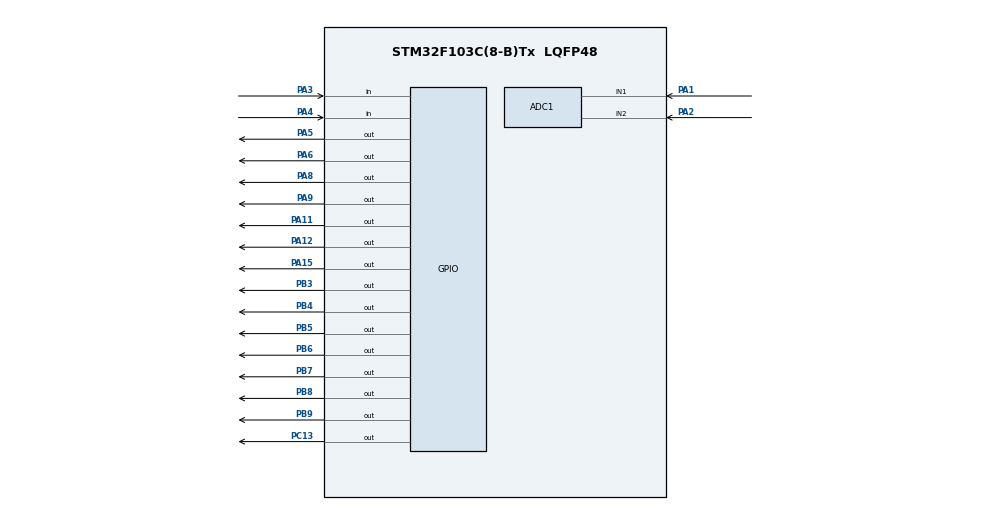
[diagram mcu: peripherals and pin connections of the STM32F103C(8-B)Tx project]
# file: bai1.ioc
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ADC1.Channel-0\#ChannelRegularConversion=ADC_CHANNEL_1
ADC1.Channel-1\#ChannelRegularConversion=ADC_CHANNEL_2
ADC1.NbrOfConversion=2
ADC1.NbrOfConversionFlag=1
ADC1.Rank-0\#ChannelRegularConversion=1
ADC1.Rank-1\#ChannelRegularConversion=2
ADC1.SamplingTime-0\#ChannelRegularConversion=ADC_SAMPLETIME_7CYCLES_5
ADC1.SamplingTime-1\#ChannelRegularConversion=ADC_SAMPLETIME_7CYCLES_5
ADC1.master=1
Dma.ADC1.0.Direction=DMA_PERIPH_TO_MEMORY
Dma.ADC1.0.Instance=DMA1_Channel1
Dma.ADC1.0.MemDataAlignment=DMA_MDATAALIGN_HALFWORD
Dma.ADC1.0.MemInc=DMA_MINC_ENABLE
Dma.ADC1.0.Mode=DMA_CIRCULAR
Dma.ADC1.0.PeriphDataAlignment=DMA_PDATAALIGN_HALFWORD
Dma.ADC1.0.PeriphInc=DMA_PINC_DISABLE
Dma.ADC1.0.Priority=DMA_PRIORITY_LOW
Dma.Request0=ADC1
Mcu.Family=STM32F1
Mcu.Name=STM32F103C(8-B)Tx
Mcu.Package=LQFP48
NVIC.DMA1_Channel1_IRQn=true\:0\:0\:false\:false\:true\:false\:true\:true
NVIC.PriorityGroup=NVIC_PRIORITYGROUP_4
PA1.Signal=ADCx_IN1
PA11.Signal=GPIO_Output
PA12.Signal=GPIO_Output
PA13.Mode=Serial_Wire
PA13.Signal=SYS_JTMS-SWDIO
PA14.Mode=Serial_Wire
PA14.Signal=SYS_JTCK-SWCLK
PA15.Signal=GPIO_Output
PA2.Signal=ADCx_IN2
PA3.GPIO_PuPd=GPIO_PULLUP
PA3.Signal=GPIO_Input
PA4.GPIO_Mode=GPIO_MODE_INPUT
PA4.GPIO_PuPd=GPIO_PULLUP
PA4.Signal=GPIO_Input
PA5.Signal=GPIO_Output
PA6.Signal=GPIO_Output
PA8.Signal=GPIO_Output
PA9.Signal=GPIO_Output
PB3.Signal=GPIO_Output
PB4.Signal=GPIO_Output
PB5.Signal=GPIO_Output
PB6.Signal=GPIO_Output
PB7.Signal=GPIO_Output
PB8.Signal=GPIO_Output
PB9.Signal=GPIO_Output
PC13-TAMPER-RTC.Signal=GPIO_Output
ProjectManager.HeapSize=0x200
ProjectManager.StackSize=0x400
ProjectManager.TargetToolchain=MDK-ARM V5
RCC.APB1Freq_Value=8000000
RCC.APB2Freq_Value=8000000
SH.ADCx_IN1.0=ADC1_IN1,IN1
SH.ADCx_IN2.0=ADC1_IN2,IN2
board=custom

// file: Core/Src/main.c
/* USER CODE BEGIN Header */
/**
  ******************************************************************************
  * @file           : main.c
  * @brief          : Main program body
  ******************************************************************************
  * @attention
  *
  * <h2><center>&copy; Copyright (c) 2023 STMicroelectronics.
  * All rights reserved.</center></h2>
  *
  * This software component is licensed by ST under BSD 3-Clause license,
  * the "License"; You may not use this file except in compliance with the
  * License. You may obtain a copy of the License at:
  *                        opensource.org/licenses/BSD-3-Clause
  *
  ******************************************************************************
  */
/* USER CODE END Header */
#include "main.h"
#include <stdio.h>
#include <string.h>

/* USER CODE BEGIN Includes */
#include "i2c-lcd.h"
#include "CLCD_I2C.h"
/* USER CODE END Includes */

ADC_HandleTypeDef hadc1;
DMA_HandleTypeDef hdma_adc1;

void SystemClock_Config(void);
static void MX_GPIO_Init(void);
static void MX_DMA_Init(void);
static void MX_ADC1_Init(void);

/* USER CODE BEGIN 0 */
uint16_t data[2];
uint16_t value1 ;
uint16_t value2;
int dem=0;
int dem1 = 0;
int Q1 = 0;
int Q2 = 0;
int Q3 = 0;
int Q4 = 0;
int Q5 = 0;
int Q6 = 0;
int k1 =0;
int k2 = 0;
int i ;
int l;
int thoigian=1000;

/* USER CODE END 0 */

int main(void)
{

  /* MCU Configuration--------------------------------------------------------*/

  /* Reset of all peripherals, Initializes the Flash interface and the Systick. */
  HAL_Init();

  /* Configure the system clock */
  SystemClock_Config();

  /* Initialize all configured peripherals */
  MX_GPIO_Init();
  MX_DMA_Init();
  MX_ADC1_Init();
  /* USER CODE BEGIN 2 */
		lcd_init();

	lcd_goto_XY(1,0);
	lcd_send_string("DO AN MON HOC4");
	lcd_goto_XY(2,0);
	lcd_send_string("DAN PHOI TU DONG");
	HAL_Delay(3000);
			for (int i=0;i<3;i++){
	HAL_GPIO_WritePin(GPIOA,GPIO_PIN_3,1);
	HAL_GPIO_WritePin(GPIOA,GPIO_PIN_4,1);
		HAL_Delay(1000);
		HAL_GPIO_WritePin(GPIOA,GPIO_PIN_3,0);
	HAL_GPIO_WritePin(GPIOA,GPIO_PIN_4,0);
		HAL_Delay(1000);

  /* USER CODE END 2 */

  /* Infinite loop */
  while (1)
  {

    /* USER CODE BEGIN 3 */
		HAL_GPIO_WritePin(GPIOC,GPIO_PIN_13,1); //bat led pc13 vi dieu khien
		HAL_Delay(500);
		HAL_GPIO_WritePin(GPIOC,GPIO_PIN_13,0);// tat led
		HAL_Delay(500);

		HAL_ADC_Start_DMA(&hadc1,(uint32_t*)data,2); //truyen ADC vao bien con tro data 32bit
		HAL_Delay(50);
		HAL_ADC_Stop_DMA(&hadc1); // luu gia tri vao thanh ghi dma

		value1 = data[0];         //tin hieu alalog mua
		value2 = data[1];         // tin hieu alalog anh sang

		HAL_GPIO_WritePin(GPIOC,GPIO_PIN_13,1); //bat led pc13 vi dieu khien
		HAL_Delay(500);
		HAL_GPIO_WritePin(GPIOC,GPIO_PIN_13,0);// tat led
		HAL_Delay(500);// tin hieu alalog anh sang

		if(HAL_GPIO_ReadPin(GPIOA,GPIO_PIN_3)==0){   // neu nhan PA3
			    for(int x=4000; x >0; x--);          // chong rung nut nhan
			    dem = dem + 1 ;}

	  if(dem % 2 == 0) {

		 Lcd_Ghi_Lenh(0x80);
		 sprintf(&M[0],"che do:tu dong                                                                                                                                                                                                                                                                                                                                                                                           ");
     Lcd_Ghi_chuoi(&M[0]);

     HAL_GPIO_WritePin(GPIOA,GPIO_PIN_8,1);
			HAL_GPIO_WritePin(GPIOA,GPIO_PIN_9,0); //thuc hien qua trinh tu dong

		 if(value1 <=1550 && value2 <= 2400) // ban ngay co mua. thuc hien dong cua  {
		 {      Lcd_Ghi_Lenh(0xc0);
		        sprintf(&M[0],"dong:ngay co mua         ");
			      HAL_GPIO_WritePin(GPIOA,GPIO_PIN_11,1);
					  HAL_GPIO_WritePin(GPIOA,GPIO_PIN_12,1);
            Lcd_Ghi_chuoi(&M[0]);
					  if(HAL_GPIO_ReadPin(GPIOA,GPIO_PIN_5)==1 && HAL_GPIO_ReadPin(GPIOA,GPIO_PIN_6)==1&& HAL_GPIO_ReadPin(GPIOA,GPIO_PIN_15)==0)
                                                         {Q2=0;}//

				            // kiem tra dong cua hay khong neu dong thi dong thi giu nguyen neu dang mo thi thuc hien qua  trinh dong
           	if(HAL_GPIO_ReadPin(GPIOA,GPIO_PIN_5)==0 && HAL_GPIO_ReadPin(GPIOA,GPIO_PIN_6)==0&& HAL_GPIO_ReadPin(GPIOA,GPIO_PIN_15)==0 && Q1 ==0){Q2=0;}
				            // kiem tra dong cua hay khong neu dong thi dong thi giu nguyen neu dang mo thi thuc hien qua  trinh dong

					  if(HAL_GPIO_ReadPin(GPIOA,GPIO_PIN_5)==1 && HAL_GPIO_ReadPin(GPIOA,GPIO_PIN_6)==1&& HAL_GPIO_ReadPin(GPIOA,GPIO_PIN_15)==0 && Q2 ==0){
																								 HAL_GPIO_WritePin(GPIOA,GPIO_PIN_5,0);
																								 HAL_GPIO_WritePin(GPIOA,GPIO_PIN_6,1);
																								 HAL_GPIO_WritePin(GPIOA,GPIO_PIN_15,1);
																								 HAL_Delay(thoigian);
																								 HAL_GPIO_WritePin(GPIOA,GPIO_PIN_15,0);
																								 HAL_GPIO_WritePin(GPIOA,GPIO_PIN_6,0);
																								 HAL_GPIO_WritePin(GPIOA,GPIO_PIN_5,0);
																								 Q2 = 1; Q1=0;}

	  }   if(value1 <= 1550 &&  value2 > 2400) // ban ngay khong mua. thuc hien mo
			  {
											 Lcd_Ghi_Lenh(0xc0);
											 sprintf(&M[0],"mo:ngay khum mua       ");
											 Lcd_Ghi_chuoi(&M[0]);

					              HAL_GPIO_WritePin(GPIOA,GPIO_PIN_11,0);
					              HAL_GPIO_WritePin(GPIOA,GPIO_PIN_12,0);
											 //kiem tra dong . neu dong thi mo .
											 if(HAL_GPIO_ReadPin(GPIOA,GPIO_PIN_5)==0 && HAL_GPIO_ReadPin(GPIOA,GPIO_PIN_6)==0 && HAL_GPIO_ReadPin(GPIOA,GPIO_PIN_15)==0 && Q3 ==0){
																													 HAL_GPIO_WritePin(GPIOA,GPIO_PIN_5,1);
																													 HAL_GPIO_WritePin(GPIOA,GPIO_PIN_6,0);
																													 HAL_GPIO_WritePin(GPIOA,GPIO_PIN_15,1);
																													 HAL_Delay(thoigian);
																													 HAL_GPIO_WritePin(GPIOA,GPIO_PIN_15,0);
																													 HAL_GPIO_WritePin(GPIOA,GPIO_PIN_6,1);
																													 HAL_GPIO_WritePin(GPIOA,GPIO_PIN_5,1);
																																		 Q3 = 1;}
											 if(HAL_GPIO_ReadPin(GPIOA,GPIO_PIN_5)==1 && HAL_GPIO_ReadPin(GPIOA,GPIO_PIN_6)==1 && HAL_GPIO_ReadPin(GPIOA,GPIO_PIN_15)==0 && Q4 ==0)
																																		{Q3 = 0;}

											 if(HAL_GPIO_ReadPin(GPIOA,GPIO_PIN_5)==0 && HAL_GPIO_ReadPin(GPIOA,GPIO_PIN_6)==0 && HAL_GPIO_ReadPin(GPIOA,GPIO_PIN_15)==0)//
																																		{Q3 = 0;}

				 }

				// buoi toi thi thuc hien dong cua
			  if(value1 > 1550) { Lcd_Ghi_Lenh(0xc0);
		          sprintf(&M[0],"dong: Toi                  ");
              Lcd_Ghi_chuoi(&M[0]);
					    HAL_GPIO_WritePin(GPIOA,GPIO_PIN_11,1);
					    HAL_GPIO_WritePin(GPIOA,GPIO_PIN_12,1);

				if(HAL_GPIO_ReadPin(GPIOA,GPIO_PIN_5)==1 && HAL_GPIO_ReadPin(GPIOA,GPIO_PIN_6)==1&& HAL_GPIO_ReadPin(GPIOA,GPIO_PIN_15)==0){k2=0;}//
				            // kiem tra dong cua hay khong neu dong thi dong thi giu nguyen neu dang mo thi thuc hien qua  trinh dong
						  // ban ngay co mua. thuc hien dong cua  {
        if(HAL_GPIO_ReadPin(GPIOA,GPIO_PIN_5)==0 && HAL_GPIO_ReadPin(GPIOA,GPIO_PIN_6)==0&& HAL_GPIO_ReadPin(GPIOA,GPIO_PIN_15)==0 && k1 ==0){k2=0;}
				            // kiem tra dong cua hay khong neu dong thi dong thi giu nguyen neu dang mo thi thuc hien qua  trinh dong

				if(HAL_GPIO_ReadPin(GPIOA,GPIO_PIN_5)==1 && HAL_GPIO_ReadPin(GPIOA,GPIO_PIN_6)==1&& HAL_GPIO_ReadPin(GPIOA,GPIO_PIN_15)==0 && k2 ==0){
																								 HAL_GPIO_WritePin(GPIOA,GPIO_PIN_5,0);
																								 HAL_GPIO_WritePin(GPIOA,GPIO_PIN_6,1);
																								 HAL_GPIO_WritePin(GPIOA,GPIO_PIN_15,1);
																								 HAL_Delay(thoigian);
																								 HAL_GPIO_WritePin(GPIOA,GPIO_PIN_15,0);
																								 HAL_GPIO_WritePin(GPIOA,GPIO_PIN_6,0);
																								 HAL_GPIO_WritePin(GPIOA,GPIO_PIN_5,0);
																								 k2 = 1; k1=0;}

			    }

	 }
	if(dem % 2 ==1)
		{

          Lcd_Ghi_Lenh(0x80);
		      sprintf(&M[0],"che do:thu cong      ");
          Lcd_Ghi_chuoi(&M[0]);

		 	 if(HAL_GPIO_ReadPin(GPIOA,GPIO_PIN_5)==1 && HAL_GPIO_ReadPin(GPIOA,GPIO_PIN_6)==1&& HAL_GPIO_ReadPin(GPIOA,GPIO_PIN_15)==0){
		      Lcd_Ghi_Lenh(0xc0);
		      sprintf(&M[0],"mo                    ");
          Lcd_Ghi_chuoi(&M[0]);

			 }

			 if(HAL_GPIO_ReadPin(GPIOA,GPIO_PIN_5)==0 && HAL_GPIO_ReadPin(GPIOA,GPIO_PIN_6)==0&& HAL_GPIO_ReadPin(GPIOA,GPIO_PIN_15)==0){
		                Lcd_Ghi_Lenh(0xc0);
										sprintf(&M[0],"dong                  ");
				            Lcd_Ghi_chuoi(&M[0]);

     }

		 // thuc hien chuyen sang che do thu cong
		      HAL_GPIO_WritePin(GPIOA,GPIO_PIN_8,0); HAL_GPIO_WritePin(GPIOA,GPIO_PIN_9,1);
	        if(HAL_GPIO_ReadPin(GPIOA,GPIO_PIN_4)==0)
						{
									 for(int l=4000; l >0; l--);
									 Q6=Q6+1;
									 Q5=Q5+1;
						       if(HAL_GPIO_ReadPin(GPIOA,GPIO_PIN_5)==0 && HAL_GPIO_ReadPin(GPIOA,GPIO_PIN_6)==0 && Q5%2==1){
								   HAL_GPIO_WritePin(GPIOA,GPIO_PIN_5,1);
								   HAL_GPIO_WritePin(GPIOA,GPIO_PIN_6,0);
								   HAL_GPIO_WritePin(GPIOA,GPIO_PIN_15,1);

									 if(HAL_GPIO_ReadPin(GPIOA,GPIO_PIN_5)==1 && HAL_GPIO_ReadPin(GPIOA,GPIO_PIN_6)==0&& HAL_GPIO_ReadPin(GPIOA,GPIO_PIN_15)==1){
		                  Lcd_Ghi_Lenh(0xc0);
											sprintf(&M[0],"thuc hien mo---------");
											Lcd_Ghi_chuoi(&M[0]);}
									 HAL_Delay(thoigian);
									 HAL_GPIO_WritePin(GPIOA,GPIO_PIN_15,0);
									 HAL_GPIO_WritePin(GPIOA,GPIO_PIN_5,1);
								   HAL_GPIO_WritePin(GPIOA,GPIO_PIN_6,1);
											HAL_GPIO_WritePin(GPIOA,GPIO_PIN_11,0);
				              HAL_GPIO_WritePin(GPIOA,GPIO_PIN_12,0);

						}

								if(HAL_GPIO_ReadPin(GPIOA,GPIO_PIN_5)==1 && HAL_GPIO_ReadPin(GPIOA,GPIO_PIN_6)==1 && Q6%2==0){
								   HAL_GPIO_WritePin(GPIOA,GPIO_PIN_5,0);
								   HAL_GPIO_WritePin(GPIOA,GPIO_PIN_6,1);
								   HAL_GPIO_WritePin(GPIOA,GPIO_PIN_15,1);

									 if(HAL_GPIO_ReadPin(GPIOA,GPIO_PIN_5)==0 && HAL_GPIO_ReadPin(GPIOA,GPIO_PIN_6)==1&& HAL_GPIO_ReadPin(GPIOA,GPIO_PIN_15)==1){
		                  Lcd_Ghi_Lenh(0xc0);
											sprintf(&M[0],"thuc hien dong---------");
											Lcd_Ghi_chuoi(&M[0]);}
									 HAL_Delay(thoigian);
									 HAL_GPIO_WritePin(GPIOA,GPIO_PIN_15,0);
									 HAL_GPIO_WritePin(GPIOA,GPIO_PIN_5,0);
								   HAL_GPIO_WritePin(GPIOA,GPIO_PIN_6,0);
								   HAL_GPIO_WritePin(GPIOA,GPIO_PIN_11,1);
				           HAL_GPIO_WritePin(GPIOA,GPIO_PIN_12,1);
								}

		           if(HAL_GPIO_ReadPin(GPIOA,GPIO_PIN_5)==1 && HAL_GPIO_ReadPin(GPIOA,GPIO_PIN_6)==1&& HAL_GPIO_ReadPin(GPIOA,GPIO_PIN_15)==0){
		                  Lcd_Ghi_Lenh(0xc0);
											sprintf(&M[0],"mo                      ");
											Lcd_Ghi_chuoi(&M[0]);
							         }

							if(HAL_GPIO_ReadPin(GPIOA,GPIO_PIN_5)==0 && HAL_GPIO_ReadPin(GPIOA,GPIO_PIN_6)==0&& HAL_GPIO_ReadPin(GPIOA,GPIO_PIN_15)==0){
													Lcd_Ghi_Lenh(0xc0);
													sprintf(&M[0],"dong                   ");
													Lcd_Ghi_chuoi(&M[0]);

            }
					}
	       }
       }
  /* USER CODE END 3 */
}

void Lcd_Ghi_Lenh(char malenh)
{
 HAL_GPIO_WritePin(GPIOB,GPIO_PIN_3,GPIO_PIN_RESET);//RS=0
HAL_GPIO_WritePin(GPIOB,GPIO_PIN_4,GPIO_PIN_RESET);//LCD_RW=0
HAL_GPIO_WritePin(GPIOB,GPIO_PIN_5,GPIO_PIN_SET);//LCD_EN= 1
HAL_GPIO_WritePin(GPIOB,GPIO_PIN_6,(malenh>>4)&0x01);
HAL_GPIO_WritePin(GPIOB,GPIO_PIN_7,(malenh>>5)&0x01);
HAL_GPIO_WritePin(GPIOB,GPIO_PIN_8,(malenh>>6)&0x01);
HAL_GPIO_WritePin(GPIOB,GPIO_PIN_9,(malenh>>7)&0x01);
HAL_GPIO_WritePin(GPIOB,GPIO_PIN_5,GPIO_PIN_RESET);//LCD_EN=0
HAL_Delay(10); //5ms
HAL_GPIO_WritePin(GPIOB,GPIO_PIN_5,GPIO_PIN_SET);//LCD_EN= 1;
HAL_GPIO_WritePin(GPIOB,GPIO_PIN_6,(malenh&0x01));
HAL_GPIO_WritePin(GPIOB,GPIO_PIN_7,(malenh>>1)&0x01);
HAL_GPIO_WritePin(GPIOB,GPIO_PIN_8,(malenh>>2)&0x01);
HAL_GPIO_WritePin(GPIOB,GPIO_PIN_9,(malenh>>3)&0x01);
HAL_GPIO_WritePin(GPIOB,GPIO_PIN_5,GPIO_PIN_RESET);//LCD_EN=0
HAL_Delay(10); //5ms
}

void Lcd_Ghi_Dulieu(char dulieu)
{
HAL_GPIO_WritePin(GPIOB,GPIO_PIN_3,GPIO_PIN_SET);//RS=0
HAL_GPIO_WritePin(GPIOB,GPIO_PIN_4,GPIO_PIN_RESET);//LCD_RW=0
HAL_GPIO_WritePin(GPIOB,GPIO_PIN_5,GPIO_PIN_SET);//LCD_EN= 1
HAL_GPIO_WritePin(GPIOB,GPIO_PIN_6,(dulieu>>4)&0x01);
HAL_GPIO_WritePin(GPIOB,GPIO_PIN_7,(dulieu>>5)&0x01);
HAL_GPIO_WritePin(GPIOB,GPIO_PIN_8,(dulieu>>6)&0x01);
HAL_GPIO_WritePin(GPIOB,GPIO_PIN_9,(dulieu>>7)&0x01);
HAL_GPIO_WritePin(GPIOB,GPIO_PIN_5,GPIO_PIN_RESET);//LCD_EN=0
HAL_Delay(10); //5ms
HAL_GPIO_WritePin(GPIOB,GPIO_PIN_5,GPIO_PIN_SET);//LCD_EN= 1

HAL_GPIO_WritePin(GPIOB,GPIO_PIN_6,(dulieu&0x01));
HAL_GPIO_WritePin(GPIOB,GPIO_PIN_7,(dulieu>>1)&0x01);
HAL_GPIO_WritePin(GPIOB,GPIO_PIN_8,(dulieu>>2)&0x01);
HAL_GPIO_WritePin(GPIOB,GPIO_PIN_9,(dulieu>>3)&0x01);
HAL_GPIO_WritePin(GPIOB,GPIO_PIN_5,GPIO_PIN_RESET);//LCD_EN=0
HAL_Delay(10); //5ms
}

void Lcd_Cauhinh(void)
{
Lcd_Ghi_Lenh(0x03); //Bat dau
Lcd_Ghi_Lenh(0x02); // tro ve dau dong
Lcd_Ghi_Lenh(0x28);// Giao tiep Vi dieu khien 4 4 chân
Lcd_Ghi_Lenh(0x06);// Dua con tro den vi tri tiep theo
Lcd_Ghi_Lenh(0x0c);// Baat hien thi, tang con tro
Lcd_Ghi_Lenh(0x01); // Xóa màn hình
}
void Lcd_Ghi_chuoi (char *str)
{
while(*str)
{
Lcd_Ghi_Dulieu(*str);
str++;
}
}

void SystemClock_Config(void)
{
  RCC_OscInitTypeDef RCC_OscInitStruct = {0};
  RCC_ClkInitTypeDef RCC_ClkInitStruct = {0};
  RCC_PeriphCLKInitTypeDef PeriphClkInit = {0};

  /** Initializes the RCC Oscillators according to the specified parameters
  * in the RCC_OscInitTypeDef structure.
  */
  RCC_OscInitStruct.OscillatorType = RCC_OSCILLATORTYPE_HSI;
  RCC_OscInitStruct.HSIState = RCC_HSI_ON;
  RCC_OscInitStruct.HSICalibrationValue = RCC_HSICALIBRATION_DEFAULT;
  RCC_OscInitStruct.PLL.PLLState = RCC_PLL_NONE;
  if (HAL_RCC_OscConfig(&RCC_OscInitStruct) != HAL_OK)
  {
    Error_Handler();
  }
  /** Initializes the CPU, AHB and APB buses clocks
  */
  RCC_ClkInitStruct.ClockType = RCC_CLOCKTYPE_HCLK|RCC_CLOCKTYPE_SYSCLK
                              |RCC_CLOCKTYPE_PCLK1|RCC_CLOCKTYPE_PCLK2;
  RCC_ClkInitStruct.SYSCLKSource = RCC_SYSCLKSOURCE_HSI;
  RCC_ClkInitStruct.AHBCLKDivider = RCC_SYSCLK_DIV1;
  RCC_ClkInitStruct.APB1CLKDivider = RCC_HCLK_DIV1;
  RCC_ClkInitStruct.APB2CLKDivider = RCC_HCLK_DIV1;

  if (HAL_RCC_ClockConfig(&RCC_ClkInitStruct, FLASH_LATENCY_0) != HAL_OK)
  {
    Error_Handler();
  }
  PeriphClkInit.PeriphClockSelection = RCC_PERIPHCLK_ADC;
  PeriphClkInit.AdcClockSelection = RCC_ADCPCLK2_DIV2;
  if (HAL_RCCEx_PeriphCLKConfig(&PeriphClkInit) != HAL_OK)
  {
    Error_Handler();
  }
}

static void MX_ADC1_Init(void)
{

  ADC_ChannelConfTypeDef sConfig = {0};

  /** Common config
  */
  hadc1.Instance = ADC1;
  hadc1.Init.ScanConvMode = ADC_SCAN_ENABLE;
  hadc1.Init.ContinuousConvMode = DISABLE;
  hadc1.Init.DiscontinuousConvMode = DISABLE;
  hadc1.Init.ExternalTrigConv = ADC_SOFTWARE_START;
  hadc1.Init.DataAlign = ADC_DATAALIGN_RIGHT;
  hadc1.Init.NbrOfConversion = 2;
  if (HAL_ADC_Init(&hadc1) != HAL_OK)
  {
    Error_Handler();
  }
  /** Configure Regular Channel
  */
  sConfig.Channel = ADC_CHANNEL_1;
  sConfig.Rank = ADC_REGULAR_RANK_1;
  sConfig.SamplingTime = ADC_SAMPLETIME_7CYCLES_5;
  if (HAL_ADC_ConfigChannel(&hadc1, &sConfig) != HAL_OK)
  {
    Error_Handler();
  }
  /** Configure Regular Channel
  */
  sConfig.Channel = ADC_CHANNEL_2;
  sConfig.Rank = ADC_REGULAR_RANK_2;
  if (HAL_ADC_ConfigChannel(&hadc1, &sConfig) != HAL_OK)
  {
    Error_Handler();
  }

}

static void MX_DMA_Init(void)
{

  /* DMA controller clock enable */
  __HAL_RCC_DMA1_CLK_ENABLE();

  /* DMA interrupt init */
  /* DMA1_Channel1_IRQn interrupt configuration */
  HAL_NVIC_SetPriority(DMA1_Channel1_IRQn, 0, 0);
  HAL_NVIC_EnableIRQ(DMA1_Channel1_IRQn);

}

static void MX_GPIO_Init(void)
{
  GPIO_InitTypeDef GPIO_InitStruct = {0};

  /* GPIO Ports Clock Enable */
  __HAL_RCC_GPIOC_CLK_ENABLE();
  __HAL_RCC_GPIOA_CLK_ENABLE();
  __HAL_RCC_GPIOB_CLK_ENABLE();

  /*Configure GPIO pin Output Level */
  HAL_GPIO_WritePin(GPIOC, GPIO_PIN_13, GPIO_PIN_RESET);

  /*Configure GPIO pin Output Level */
  HAL_GPIO_WritePin(GPIOA, GPIO_PIN_5|GPIO_PIN_6|GPIO_PIN_8|GPIO_PIN_9
                          |GPIO_PIN_11|GPIO_PIN_12|GPIO_PIN_15, GPIO_PIN_RESET);

  /*Configure GPIO pin Output Level */
  HAL_GPIO_WritePin(GPIOB, GPIO_PIN_3|GPIO_PIN_4|GPIO_PIN_5|GPIO_PIN_6
                          |GPIO_PIN_7|GPIO_PIN_8|GPIO_PIN_9, GPIO_PIN_RESET);

  /*Configure GPIO pin : PC13 */
  GPIO_InitStruct.Pin = GPIO_PIN_13;
  GPIO_InitStruct.Mode = GPIO_MODE_OUTPUT_PP;
  GPIO_InitStruct.Pull = GPIO_NOPULL;
  GPIO_InitStruct.Speed = GPIO_SPEED_FREQ_LOW;
  HAL_GPIO_Init(GPIOC, &GPIO_InitStruct);

  /*Configure GPIO pins : PA3 PA4 */
  GPIO_InitStruct.Pin = GPIO_PIN_3|GPIO_PIN_4;
  GPIO_InitStruct.Mode = GPIO_MODE_INPUT;
  GPIO_InitStruct.Pull = GPIO_PULLUP;
  HAL_GPIO_Init(GPIOA, &GPIO_InitStruct);

  /*Configure GPIO pins : PA5 PA6 PA8 PA9
                           PA11 PA12 PA15 */
  GPIO_InitStruct.Pin = GPIO_PIN_5|GPIO_PIN_6|GPIO_PIN_8|GPIO_PIN_9
                          |GPIO_PIN_11|GPIO_PIN_12|GPIO_PIN_15;
  GPIO_InitStruct.Mode = GPIO_MODE_OUTPUT_PP;
  GPIO_InitStruct.Pull = GPIO_NOPULL;
  GPIO_InitStruct.Speed = GPIO_SPEED_FREQ_LOW;
  HAL_GPIO_Init(GPIOA, &GPIO_InitStruct);

  /*Configure GPIO pins : PB3 PB4 PB5 PB6
                           PB7 PB8 PB9 */
  GPIO_InitStruct.Pin = GPIO_PIN_3|GPIO_PIN_4|GPIO_PIN_5|GPIO_PIN_6
                          |GPIO_PIN_7|GPIO_PIN_8|GPIO_PIN_9;
  GPIO_InitStruct.Mode = GPIO_MODE_OUTPUT_PP;
  GPIO_InitStruct.Pull = GPIO_NOPULL;
  GPIO_InitStruct.Speed = GPIO_SPEED_FREQ_LOW;
  HAL_GPIO_Init(GPIOB, &GPIO_InitStruct);

}

void Error_Handler(void)
{
}

/************************ (C) COPYRIGHT STMicroelectronics *****END OF FILE****/
